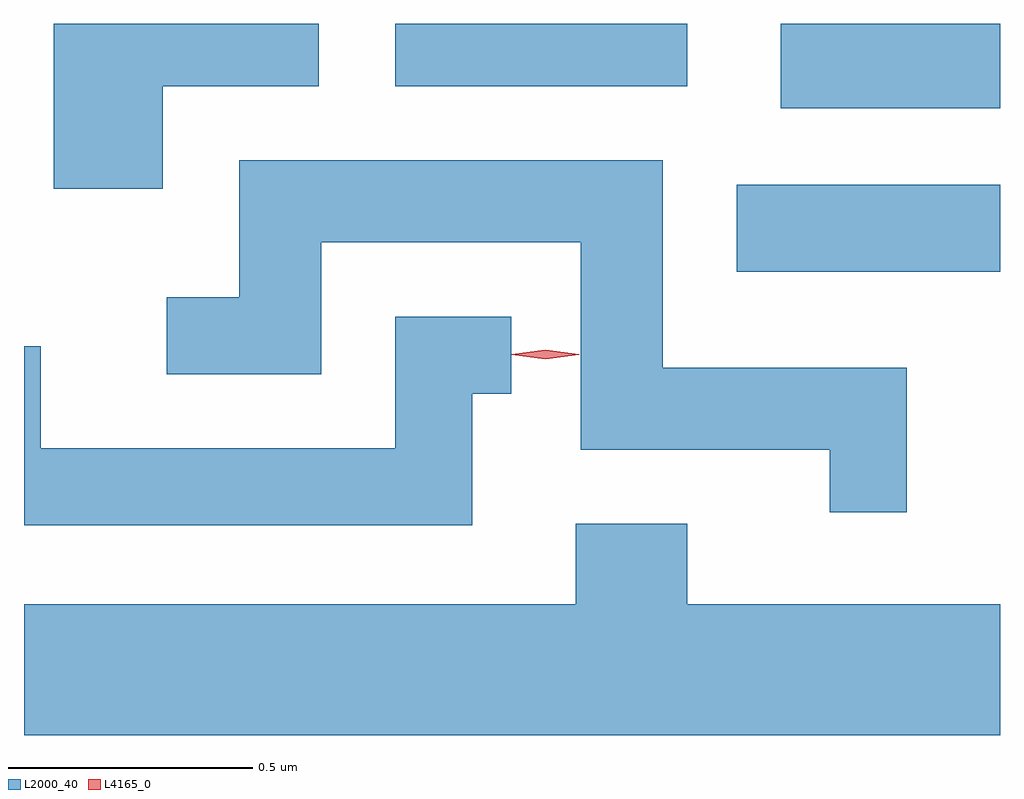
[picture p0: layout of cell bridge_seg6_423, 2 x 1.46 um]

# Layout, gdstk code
import gdstk
lib = gdstk.Library(unit=1e-6, precision=1e-09)
def R(c, l, rs):  # rectangles x0, y0, x1, y1
    for r in rs: c.add(gdstk.rectangle(r[:2], r[2:], *l))
def P(c, l, *ps):  # polygons
    for p in ps: c.add(gdstk.Polygon(p, *l))
L2000_40 = (2000, 40)
L4165_0 = (4165, 0)

bridge_seg6_423 = lib.new_cell('bridge_seg6_423')
R(bridge_seg6_423, L2000_40, [(925.671,1648.666,926.21,1648.844), (925.761,1649.001,926.21,1649.174), (924.971,1649.046,925.569,1649.174)])
P(bridge_seg6_423, L2000_40, [(924.494,1649.046),(924.814,1649.046),(924.814,1649.174),(924.271,1649.174),(924.271,1648.836),(924.494,1648.836)],
  [(926.019,1648.469),(925.519,1648.469),(925.519,1648.894),(924.651,1648.894),(924.651,1648.614),(924.503,1648.614),(924.503,1648.456),(924.819,1648.456),(924.819,1648.726),(925.351,1648.726),(925.351,1648.301),(925.861,1648.301),(925.861,1648.173),(926.019,1648.173)],
  [(925.129,1648.416),(925.208,1648.416),(925.208,1648.574),(924.971,1648.574),(924.971,1648.304),(924.244,1648.304),(924.244,1648.513),(924.21,1648.513),(924.21,1648.146),(925.129,1648.146)],
  [(926.21,1647.984),(925.569,1647.984),(925.569,1648.149),(925.341,1648.149),(925.341,1647.984),(924.21,1647.984),(924.21,1647.716),(926.21,1647.716)])
P(bridge_seg6_423, L4165_0, [(925.278,1648.487),(925.209,1648.496),(925.209,1648.496),(925.209,1648.497),(925.278,1648.506),(925.348,1648.497),(925.348,1648.497),(925.348,1648.496)])

lib.write_gds('bridge_seg6_423.gds')
